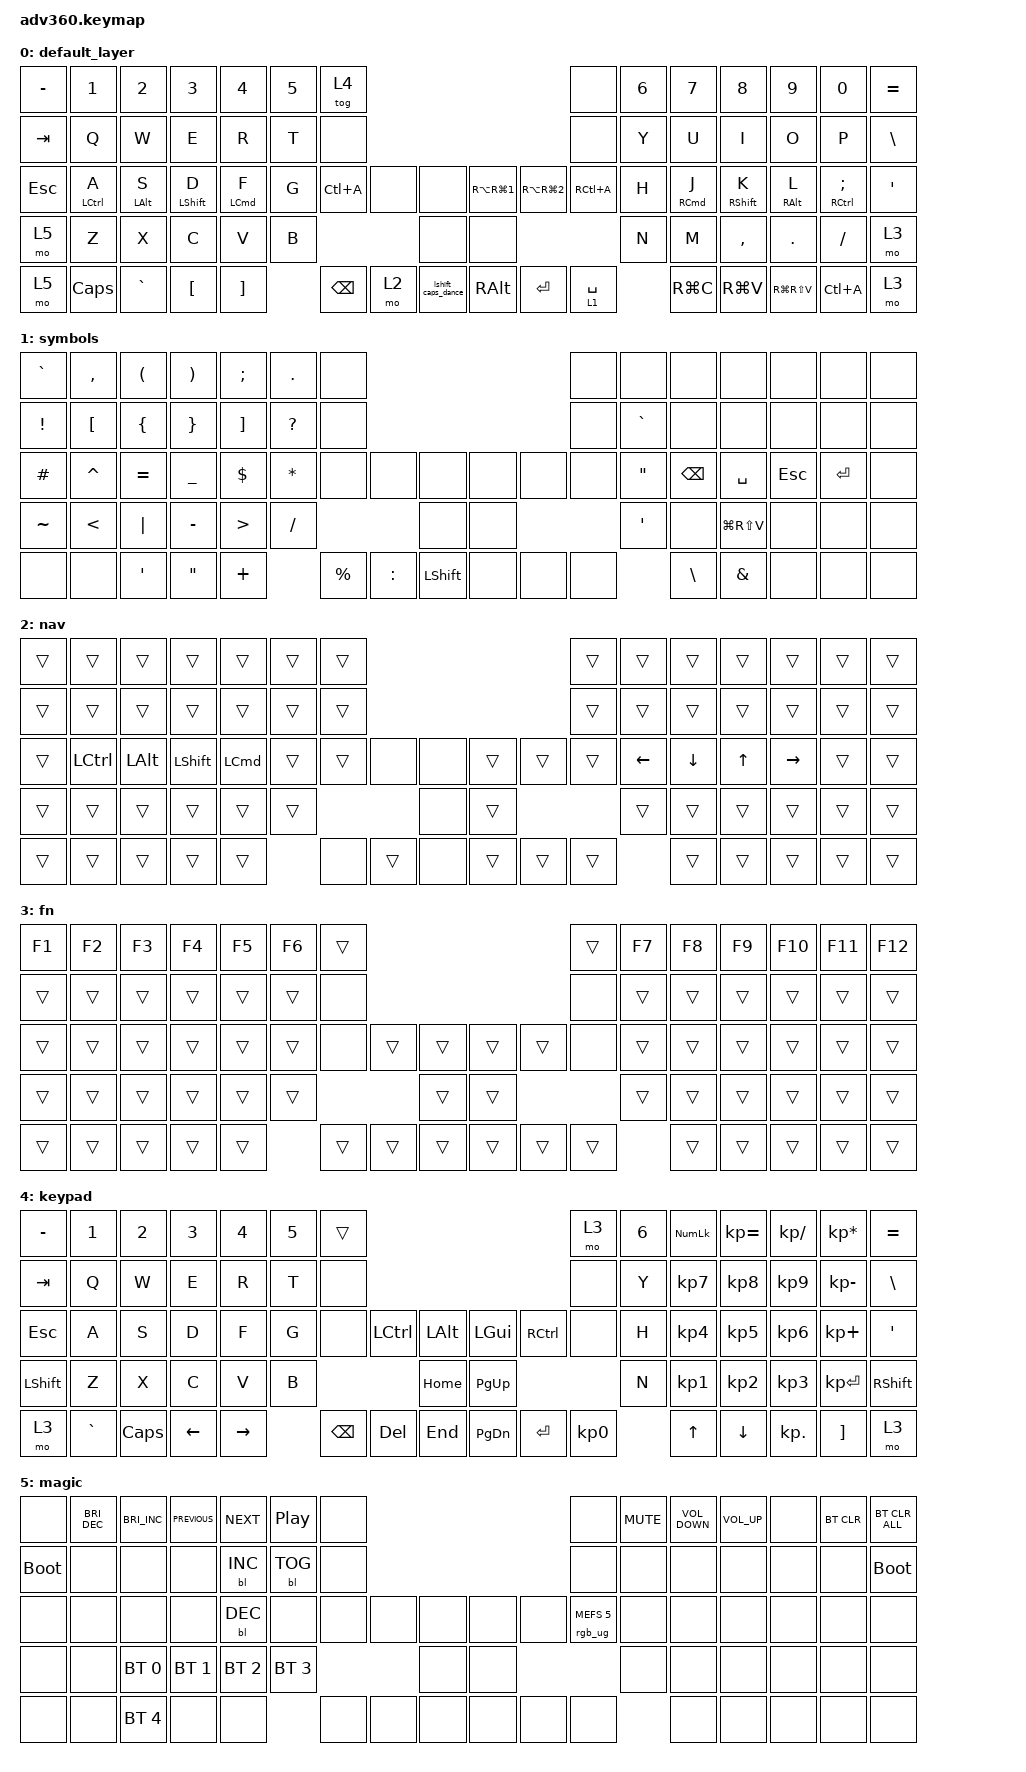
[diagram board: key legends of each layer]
#include <behaviors.dtsi>
#include <dt-bindings/zmk/backlight.h>
#include <dt-bindings/zmk/bt.h>
#include <dt-bindings/zmk/keys.h>
#include <dt-bindings/zmk/rgb.h>

/ {
    behaviors {
        #include "macros.dtsi"
      #include "version.dtsi"
      #ifndef VERSION_MACRO

        macro_ver: macro_ver {
            compatible = "zmk,behavior-macro";
            label = "macro_version";
            #binding-cells = <0>;
            bindings = <&kp RET>;
        };

        #endif

        hml: hml {
            compatible = "zmk,behavior-hold-tap";
            label = "HML";
            bindings = <&kp>, <&kp>;

            #binding-cells = <2>;
            tapping-term-ms = <280>;
            flavor = "balanced";
            require-prior-idle-ms = <200>;
            hold-trigger-key-positions = <7 9 8 11 10 12 7 8 9 10 11 12 13 21 22 23 24 25 26 27 39 40 41 42 43 44 45 37 38 39 40 41 42 53 54 55 56 69 70 71 72 58 59 75 74 73 57 68 35 36 52 67 66 65>;
            hold-trigger-on-release;
            quick-tap-ms = <175>;
        };

        hmr: hmr {
            compatible = "zmk,behavior-hold-tap";
            label = "HMR";
            bindings = <&kp>, <&kp>;

            #binding-cells = <2>;
            tapping-term-ms = <280>;
            flavor = "balanced";
            require-prior-idle-ms = <200>;
            hold-trigger-on-release;
            hold-trigger-key-positions = <0 1 2 3 4 5 6 14 15 16 17 18 19 20 28 29 30 31 32 33 34 35 36 46 47 48 49 50 51 52 60 61 62 63 64 65 66 67 37 38 69 70 53 68>;
            quick-tap-ms = <175>;
        };

        lshift: lshift {
            compatible = "zmk,behavior-hold-tap";
            label = "LSHIFT";
            bindings = <&kp>, <&kp>;

            #binding-cells = <2>;
            tapping-term-ms = <400>;
            hold-trigger-key-positions = <7 8 9 10 11 12 21 22 23 24 25 26 37 38 39 40 41 42 43 44 53 54 55 56 57 58 68 69 70 71 72 73 74 13 27 45 59 75>;
            quick-tap-ms = <175>;
        };

        rshift: rshift {
            compatible = "zmk,behavior-hold-tap";
            label = "RSHIFT";
            bindings = <&kp>, <&kp>;

            #binding-cells = <2>;
            tapping-term-ms = <400>;
            quick-tap-ms = <175>;
            hold-trigger-key-positions = <0 1 2 3 4 5 6 14 15 16 17 18 19 20 28 29 30 31 32 33 34 35 36 46 47 48 49 50 51 52 60 61 62 63 64 65 66 67>;
        };

        lshift_caps_dance: lshift_caps_dance {
            compatible = "zmk,behavior-tap-dance";
            label = "LSHIFT_CAPS_DANCE";
            #binding-cells = <0>;
            bindings = <&kp LSHIFT>, <&caps_word>;
        };

        space_thumb: space_thumb {
            compatible = "zmk,behavior-hold-tap";
            label = "SPACE_THUMB";
            bindings = <&mo>, <&kp>;

            #binding-cells = <2>;
            tapping-term-ms = <200>;
            quick-tap-ms = <150>;
            require-prior-idle-ms = <200>;
            flavor = "balanced";
        };
    };

    macros {
    };

    combos {
        compatible = "zmk,combos";

        bootloader_left {
            bindings = <&bootloader>;
            key-positions = <20 34>;
        };

        bootloader_right {
            bindings = <&bootloader>;
            key-positions = <39 21>;
        };

        sleep {
            bindings = <&kp RC(RG(Q))>;
            key-positions = <0 13>;
        };
    };

    keymap {
        compatible = "zmk,keymap";

        default_layer {
            bindings = <
&kp MINUS  &kp N1               &kp N2       &kp N3         &kp N4               &kp N5  &tog 4                                                                                    &none                 &kp N6  &kp N7                &kp N8         &kp N9         &kp N0                   &kp EQUAL
&kp TAB    &kp Q                &kp W        &kp E          &kp R                &kp T   &none                                                                                     &none                 &kp Y   &kp U                 &kp I          &kp O          &kp P                    &kp BSLH
&kp ESC    &hml LEFT_CONTROL A  &hml LALT S  &hml LSHIFT D  &hml LEFT_COMMAND F  &kp G   &kp LC(A)      &none  &none                   &kp RA(RG(NUMBER_1))  &kp RA(RG(NUMBER_2))  &kp RC(A)             &kp H   &hmr RIGHT_COMMAND J  &hmr RSHIFT K  &hmr RALT L    &hmr RIGHT_CONTROL SEMI  &kp SQT
&mo 5      &kp Z                &kp X        &kp C          &kp V                &kp B                         &none                   &none                                                             &kp N   &kp M                 &kp COMMA      &kp DOT        &kp FSLH                 &mo 3
&mo 5      &kp CAPSLOCK         &kp GRAVE    &kp LBKT       &kp RBKT                     &kp BACKSPACE  &mo 2  &lshift_caps_dance      &kp RIGHT_ALT         &kp ENTER             &space_thumb 1 SPACE          &kp RG(C)             &kp RG(V)      &kp RG(RS(V))  &kp LC(A)                &mo 3
            >;
        };

        symbols {
            bindings = <
&kp GRAVE        &kp COMMA         &kp LEFT_PARENTHESIS  &kp RIGHT_PARENTHESIS  &kp SEMICOLON      &kp PERIOD    &none                                                     &none  &none              &none          &none          &none       &none      &none
&kp EXCLAMATION  &kp LEFT_BRACKET  &kp LEFT_BRACE        &kp RIGHT_BRACE        &kp RIGHT_BRACKET  &kp QUESTION  &none                                                     &none  &kp GRAVE          &none          &none          &none       &none      &none
&kp HASH         &kp CARET         &kp EQUAL             &kp UNDERSCORE         &kp DOLLAR         &kp ASTERISK  &none        &none      &none               &none  &none  &none  &kp DOUBLE_QUOTES  &kp BACKSPACE  &kp SPACE      &kp ESCAPE  &kp ENTER  &none
&kp TILDE        &kp LESS_THAN     &kp PIPE              &kp MINUS              &kp GREATER_THAN   &kp SLASH                             &none               &none                &kp SQT            &none          &kp LG(RS(V))  &none       &none      &none
&none            &none             &kp SQT               &kp DOUBLE_QUOTES      &kp PLUS                         &kp PERCENT  &kp COLON  &kp LEFT_SHIFT      &none  &none  &none                     &kp BACKSLASH  &kp AMPERSAND  &none       &none      &none
            >;
        };

        nav {
            bindings = <
&trans  &trans            &trans        &trans      &trans            &trans  &trans                                     &trans  &trans          &trans          &trans        &trans           &trans  &trans
&trans  &trans            &trans        &trans      &trans            &trans  &trans                                     &trans  &trans          &trans          &trans        &trans           &trans  &trans
&trans  &kp LEFT_CONTROL  &kp LEFT_ALT  &kp LSHIFT  &kp LEFT_COMMAND  &trans  &trans  &none   &none      &trans  &trans  &trans  &kp LEFT_ARROW  &kp DOWN_ARROW  &kp UP_ARROW  &kp RIGHT_ARROW  &trans  &trans
&trans  &trans            &trans        &trans      &trans            &trans                  &none      &trans                  &trans          &trans          &trans        &trans           &trans  &trans
&trans  &trans            &trans        &trans      &trans                    &none   &trans  &none      &trans  &trans  &trans                  &trans          &trans        &trans           &trans  &trans
            >;
        };

        fn {
            bindings = <
&kp F1  &kp F2  &kp F3  &kp F4  &kp F5  &kp F6  &trans                                      &trans  &kp F7  &kp F8  &kp F9  &kp F10  &kp F11  &kp F12
&trans  &trans  &trans  &trans  &trans  &trans  &none                                       &none   &trans  &trans  &trans  &trans   &trans   &trans
&trans  &trans  &trans  &trans  &trans  &trans  &none   &trans  &trans      &trans  &trans  &none   &trans  &trans  &trans  &trans   &trans   &trans
&trans  &trans  &trans  &trans  &trans  &trans                  &trans      &trans                  &trans  &trans  &trans  &trans   &trans   &trans
&trans  &trans  &trans  &trans  &trans          &trans  &trans  &trans      &trans  &trans  &trans          &trans  &trans  &trans   &trans   &trans
            >;
        };

        keypad {
            bindings = <
&kp MINUS  &kp N1     &kp N2    &kp N3    &kp N4     &kp N5  &trans                                                   &mo 3      &kp N6  &kp KP_NUM  &kp KP_EQUAL  &kp KP_DIVIDE  &kp KP_MULTIPLY  &kp EQUAL
&kp TAB    &kp Q      &kp W     &kp E     &kp R      &kp T   &none                                                    &none      &kp Y   &kp KP_N7   &kp KP_N8     &kp KP_N9      &kp KP_MINUS     &kp BSLH
&kp ESC    &kp A      &kp S     &kp D     &kp F      &kp G   &none     &kp LCTRL  &kp LALT      &kp LGUI   &kp RCTRL  &none      &kp H   &kp KP_N4   &kp KP_N5     &kp KP_N6      &kp KP_PLUS      &kp SQT
&kp LSHFT  &kp Z      &kp X     &kp C     &kp V      &kp B                        &kp HOME      &kp PG_UP                        &kp N   &kp KP_N1   &kp KP_N2     &kp KP_N3      &kp KP_ENTER     &kp RSHFT
&mo 3      &kp GRAVE  &kp CAPS  &kp LEFT  &kp RIGHT          &kp BSPC  &kp DEL    &kp END       &kp PG_DN  &kp ENTER  &kp KP_N0          &kp UP      &kp DOWN      &kp KP_DOT     &kp RBKT         &mo 3
            >;
        };

        magic {
            bindings = <
&none        &kp C_BRIGHTNESS_DEC  &kp C_BRIGHTNESS_INC  &kp C_PREVIOUS  &kp C_NEXT    &kp C_PLAY_PAUSE  &none                                  &none                   &kp C_MUTE  &kp C_VOLUME_DOWN  &kp C_VOLUME_UP  &none  &bt BT_CLR  &bt BT_CLR_ALL
&bootloader  &none                 &none                 &none           &bl BL_INC    &bl BL_TOG        &none                                  &none                   &none       &none              &none            &none  &none       &bootloader
&none        &none                 &none                 &none           &bl BL_DEC    &none             &none  &none  &none      &none  &none  &rgb_ug RGB_MEFS_CMD 5  &none       &none              &none            &none  &none       &none
&none        &none                 &bt BT_SEL 0          &bt BT_SEL 1    &bt BT_SEL 2  &bt BT_SEL 3                    &none      &none                                 &none       &none              &none            &none  &none       &none
&none        &none                 &bt BT_SEL 4          &none           &none                           &none  &none  &none      &none  &none  &none                               &none              &none            &none  &none       &none
            >;
        };
    };
};
